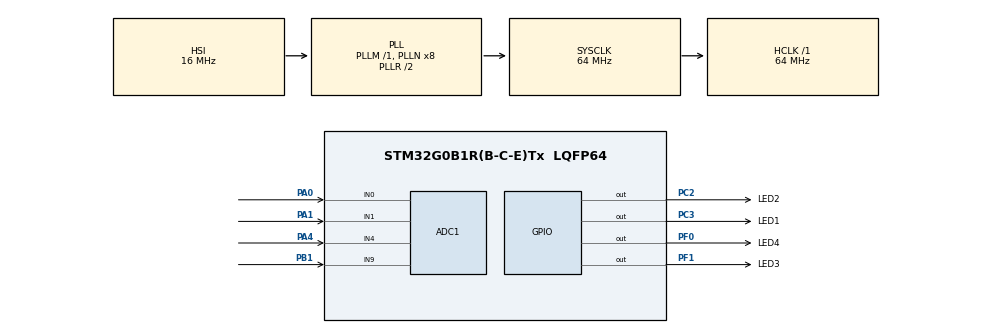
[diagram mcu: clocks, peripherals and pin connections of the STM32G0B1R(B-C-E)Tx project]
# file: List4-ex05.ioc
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ADC1.Channel-1\#ChannelRegularConversion=ADC_CHANNEL_0
ADC1.ContinuousConvMode=DISABLE
ADC1.NbrOfConversion=1
ADC1.NbrOfConversionFlag=1
ADC1.Rank-1\#ChannelRegularConversion=1
ADC1.SamplingTime-1\#ChannelRegularConversion=ADC_SAMPLINGTIME_COMMON_1
ADC1.SamplingTimeCommon1=ADC_SAMPLETIME_39CYCLES_5
ADC1.SelectedChannel=ADC_CHANNEL_0|ADC_CHANNEL_1|ADC_CHANNEL_4|ADC_CHANNEL_9
ADC1.Sequencer=FULLY_CONFIGURABLE
ADC1.master=1
Mcu.Family=STM32G0
Mcu.Name=STM32G0B1R(B-C-E)Tx
Mcu.Package=LQFP64
PA0.Mode=IN0
PA0.Signal=ADC1_IN0
PA1.Mode=IN1
PA1.Signal=ADC1_IN1
PA13.Mode=Serial_Wire
PA13.Signal=SYS_SWDIO
PA14-BOOT0.Mode=Serial_Wire
PA14-BOOT0.Signal=SYS_SWCLK
PA4.Mode=IN4
PA4.Signal=ADC1_IN4
PB1.Mode=IN9
PB1.Signal=ADC1_IN9
PC2.GPIO_Label=LED2
PC2.Signal=GPIO_Output
PC3.GPIO_Label=LED1
PC3.Signal=GPIO_Output
PF0-OSC_IN\ (PF0).GPIO_Label=LED4
PF0-OSC_IN\ (PF0).Signal=GPIO_Output
PF1-OSC_OUT\ (PF1).GPIO_Label=LED3
PF1-OSC_OUT\ (PF1).Signal=GPIO_Output
ProjectManager.HeapSize=0x200
ProjectManager.StackSize=0x400
ProjectManager.TargetToolchain=STM32CubeIDE
RCC.ADCFreq_Value=64000000
RCC.AHBFreq_Value=64000000
RCC.CortexFreq_Value=64000000
RCC.EXTERNAL_CLOCK_VALUE=48000
RCC.HCLKFreq_Value=64000000
RCC.HSE_VALUE=8000000
RCC.HSI48_VALUE=48000000
RCC.HSI_VALUE=16000000
RCC.LSE_VALUE=32768
RCC.SYSCLKFreq_VALUE=64000000
RCC.SYSCLKSource=RCC_SYSCLKSOURCE_PLLCLK
RCC.USBFreq_Value=48000000
RCC.VCOOutputFreq_Value=128000000
VP_SYS_VS_DBSignals.Mode=DisableDeadBatterySignals
board=custom

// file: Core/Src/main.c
/* USER CODE BEGIN Header */
/**
  ******************************************************************************
  * @file           : main.c
  * @brief          : Main program body
  ******************************************************************************
  * @attention
  *
  * Copyright (c) 2022 STMicroelectronics.
  * All rights reserved.
  *
  * This software is licensed under terms that can be found in the LICENSE file
  * in the root directory of this software component.
  * If no LICENSE file comes with this software, it is provided AS-IS.
  *
  ******************************************************************************
  */
/* USER CODE END Header */
#include "main.h"

/* USER CODE BEGIN Includes */
#include <stdint.h>
/* USER CODE END Includes */

ADC_HandleTypeDef hadc1;

void SystemClock_Config(void);
static void MX_GPIO_Init(void);
static void MX_ADC1_Init(void);

/* USER CODE BEGIN 0 */
uint16_t potenciometro[4] = {0};
float tensao[4] = {0};
/* USER CODE END 0 */

int main(void)
{

  /* MCU Configuration--------------------------------------------------------*/

  /* Reset of all peripherals, Initializes the Flash interface and the Systick. */
  HAL_Init();

  /* Configure the system clock */
  SystemClock_Config();

  /* Initialize all configured peripherals */
  MX_GPIO_Init();
  MX_ADC1_Init();
  /* USER CODE BEGIN 2 */
  ADC_ChannelConfTypeDef sConfig = {0};
  /* USER CODE END 2 */

  /* Infinite loop */
  /* USER CODE BEGIN WHILE */
  while (1)
  {

	  sConfig.Channel = ADC_CHANNEL_0;
	  HAL_ADC_ConfigChannel(&hadc1, &sConfig);

	  HAL_ADC_Start(&hadc1);
	  HAL_ADC_PollForConversion(&hadc1, 100);
	  potenciometro[0] = HAL_ADC_GetValue(&hadc1);

	  tensao[0] = 3.3 / 4095.0 * potenciometro[0];

	  if(tensao[0] >= 2.7){
		  HAL_GPIO_WritePin(LED1_GPIO_Port, LED1_Pin, 0);
	  } else{
		  HAL_GPIO_WritePin(LED1_GPIO_Port, LED1_Pin, 1);
	  }

	  sConfig.Channel = ADC_CHANNEL_1;
	  HAL_ADC_ConfigChannel(&hadc1, &sConfig);

	  HAL_ADC_Start(&hadc1);
	  HAL_ADC_PollForConversion(&hadc1, 100);
	  potenciometro[1] = HAL_ADC_GetValue(&hadc1);

	  tensao[1] = 3.3 / 4095.0 * potenciometro[1];

	  if(tensao[1] >= 2.7){
		  HAL_GPIO_WritePin(LED2_GPIO_Port, LED2_Pin, 0);
	  } else{
		  HAL_GPIO_WritePin(LED2_GPIO_Port, LED2_Pin, 1);
	  }

	  sConfig.Channel = ADC_CHANNEL_4;
	  HAL_ADC_ConfigChannel(&hadc1, &sConfig);

	  HAL_ADC_Start(&hadc1);
	  HAL_ADC_PollForConversion(&hadc1, 100);
	  potenciometro[2] = HAL_ADC_GetValue(&hadc1);

	  tensao[2] = 3.3 / 4095.0 * potenciometro[2];

	  if(tensao[2] >= 2.7){
		  HAL_GPIO_WritePin(LED3_GPIO_Port, LED3_Pin, 0);
	  } else{
		  HAL_GPIO_WritePin(LED3_GPIO_Port, LED3_Pin, 1);
	  }

	  sConfig.Channel = ADC_CHANNEL_9;
	  HAL_ADC_ConfigChannel(&hadc1, &sConfig);

	  HAL_ADC_Start(&hadc1);
	  HAL_ADC_PollForConversion(&hadc1, 100);
	  potenciometro[3] = HAL_ADC_GetValue(&hadc1);

	  tensao[3] = 3.3 / 4095.0 * potenciometro[3];

	  if(tensao[3] >= 2.7){
		  HAL_GPIO_WritePin(LED4_GPIO_Port, LED4_Pin, 0);
	  } else{
		  HAL_GPIO_WritePin(LED4_GPIO_Port, LED4_Pin, 1);
	  }

//	  HAL_ADC_Start(&hadc1);
//	  HAL_ADC_PollForConversion(&hadc1, 100);
//	  potenciometro2 = HAL_ADC_GetValue(&hadc1);
//
//	  tensao2 = 3.3 / 4095.0 * potenciometro2;
//
//	  if(tensao2 >= 2.7){
//		  HAL_GPIO_WritePin(LED1_GPIO_Port, LED1_Pin, 1);
//		  HAL_GPIO_WritePin(LED2_GPIO_Port, LED2_Pin, 0);
//	  } else{
//		  HAL_GPIO_WritePin(LED2_GPIO_Port, LED2_Pin, 1);
//	  }

    /* USER CODE END WHILE */

  }
}

void SystemClock_Config(void)
{
  RCC_OscInitTypeDef RCC_OscInitStruct = {0};
  RCC_ClkInitTypeDef RCC_ClkInitStruct = {0};

  /** Configure the main internal regulator output voltage
  */
  HAL_PWREx_ControlVoltageScaling(PWR_REGULATOR_VOLTAGE_SCALE1);
  /** Initializes the RCC Oscillators according to the specified parameters
  * in the RCC_OscInitTypeDef structure.
  */
  RCC_OscInitStruct.OscillatorType = RCC_OSCILLATORTYPE_HSI;
  RCC_OscInitStruct.HSIState = RCC_HSI_ON;
  RCC_OscInitStruct.HSIDiv = RCC_HSI_DIV1;
  RCC_OscInitStruct.HSICalibrationValue = RCC_HSICALIBRATION_DEFAULT;
  RCC_OscInitStruct.PLL.PLLState = RCC_PLL_ON;
  RCC_OscInitStruct.PLL.PLLSource = RCC_PLLSOURCE_HSI;
  RCC_OscInitStruct.PLL.PLLM = RCC_PLLM_DIV1;
  RCC_OscInitStruct.PLL.PLLN = 8;
  RCC_OscInitStruct.PLL.PLLP = RCC_PLLP_DIV2;
  RCC_OscInitStruct.PLL.PLLQ = RCC_PLLQ_DIV2;
  RCC_OscInitStruct.PLL.PLLR = RCC_PLLR_DIV2;
  if (HAL_RCC_OscConfig(&RCC_OscInitStruct) != HAL_OK)
  {
    Error_Handler();
  }
  /** Initializes the CPU, AHB and APB buses clocks
  */
  RCC_ClkInitStruct.ClockType = RCC_CLOCKTYPE_HCLK|RCC_CLOCKTYPE_SYSCLK
                              |RCC_CLOCKTYPE_PCLK1;
  RCC_ClkInitStruct.SYSCLKSource = RCC_SYSCLKSOURCE_PLLCLK;
  RCC_ClkInitStruct.AHBCLKDivider = RCC_SYSCLK_DIV1;
  RCC_ClkInitStruct.APB1CLKDivider = RCC_HCLK_DIV1;

  if (HAL_RCC_ClockConfig(&RCC_ClkInitStruct, FLASH_LATENCY_2) != HAL_OK)
  {
    Error_Handler();
  }
}

static void MX_ADC1_Init(void)
{

  ADC_ChannelConfTypeDef sConfig = {0};

  /** Configure the global features of the ADC (Clock, Resolution, Data Alignment and number of conversion)
  */
  hadc1.Instance = ADC1;
  hadc1.Init.ClockPrescaler = ADC_CLOCK_SYNC_PCLK_DIV2;
  hadc1.Init.Resolution = ADC_RESOLUTION_12B;
  hadc1.Init.DataAlign = ADC_DATAALIGN_RIGHT;
  hadc1.Init.ScanConvMode = ADC_SCAN_DISABLE;
  hadc1.Init.EOCSelection = ADC_EOC_SINGLE_CONV;
  hadc1.Init.LowPowerAutoWait = DISABLE;
  hadc1.Init.LowPowerAutoPowerOff = DISABLE;
  hadc1.Init.ContinuousConvMode = DISABLE;
  hadc1.Init.NbrOfConversion = 1;
  hadc1.Init.DiscontinuousConvMode = DISABLE;
  hadc1.Init.ExternalTrigConv = ADC_SOFTWARE_START;
  hadc1.Init.ExternalTrigConvEdge = ADC_EXTERNALTRIGCONVEDGE_NONE;
  hadc1.Init.DMAContinuousRequests = DISABLE;
  hadc1.Init.Overrun = ADC_OVR_DATA_PRESERVED;
  hadc1.Init.SamplingTimeCommon1 = ADC_SAMPLETIME_39CYCLES_5;
  hadc1.Init.SamplingTimeCommon2 = ADC_SAMPLETIME_1CYCLE_5;
  hadc1.Init.OversamplingMode = DISABLE;
  hadc1.Init.TriggerFrequencyMode = ADC_TRIGGER_FREQ_HIGH;
  if (HAL_ADC_Init(&hadc1) != HAL_OK)
  {
    Error_Handler();
  }
  /** Configure Regular Channel
  */
  sConfig.Channel = ADC_CHANNEL_0;
  sConfig.Rank = ADC_REGULAR_RANK_1;
  sConfig.SamplingTime = ADC_SAMPLINGTIME_COMMON_1;
  if (HAL_ADC_ConfigChannel(&hadc1, &sConfig) != HAL_OK)
  {
    Error_Handler();
  }

}

static void MX_GPIO_Init(void)
{
  GPIO_InitTypeDef GPIO_InitStruct = {0};

  /* GPIO Ports Clock Enable */
  __HAL_RCC_GPIOF_CLK_ENABLE();
  __HAL_RCC_GPIOC_CLK_ENABLE();
  __HAL_RCC_GPIOA_CLK_ENABLE();
  __HAL_RCC_GPIOB_CLK_ENABLE();

  /*Configure GPIO pin Output Level */
  HAL_GPIO_WritePin(GPIOF, LED4_Pin|LED3_Pin, GPIO_PIN_RESET);

  /*Configure GPIO pin Output Level */
  HAL_GPIO_WritePin(GPIOC, LED2_Pin|LED1_Pin, GPIO_PIN_RESET);

  /*Configure GPIO pins : LED4_Pin LED3_Pin */
  GPIO_InitStruct.Pin = LED4_Pin|LED3_Pin;
  GPIO_InitStruct.Mode = GPIO_MODE_OUTPUT_PP;
  GPIO_InitStruct.Pull = GPIO_NOPULL;
  GPIO_InitStruct.Speed = GPIO_SPEED_FREQ_LOW;
  HAL_GPIO_Init(GPIOF, &GPIO_InitStruct);

  /*Configure GPIO pins : LED2_Pin LED1_Pin */
  GPIO_InitStruct.Pin = LED2_Pin|LED1_Pin;
  GPIO_InitStruct.Mode = GPIO_MODE_OUTPUT_PP;
  GPIO_InitStruct.Pull = GPIO_NOPULL;
  GPIO_InitStruct.Speed = GPIO_SPEED_FREQ_LOW;
  HAL_GPIO_Init(GPIOC, &GPIO_InitStruct);

}

void Error_Handler(void)
{
  __disable_irq();
  while (1)
  {
  }
}
